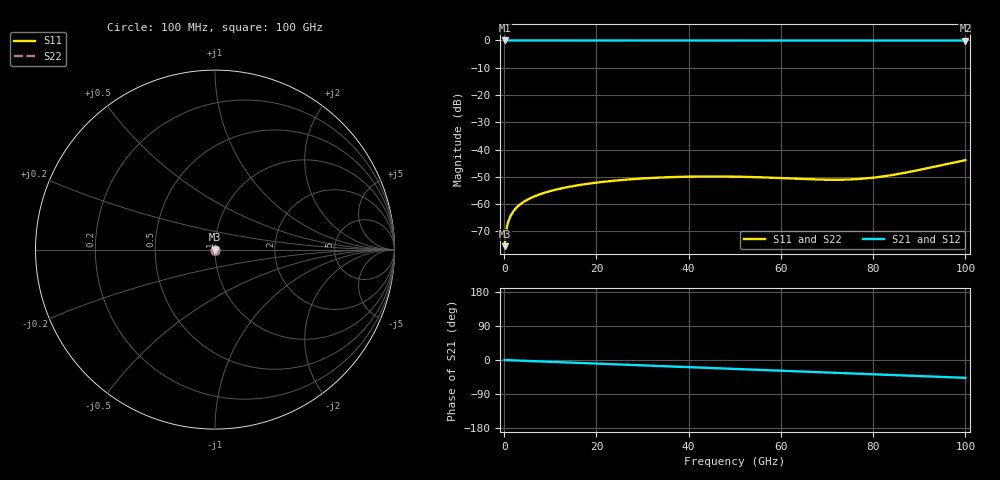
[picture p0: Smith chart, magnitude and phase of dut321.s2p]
! Touchstone file exported from HFSS 2026.1.0
!  File:  C:/ffzhzh/LocalFiles/Ansys_Project_Files/temp_train_TSV_321_1783509507_41296.aedt
!  Generated:  07:19:45 PM Jul  8, 2026
!  Design:  TSV
!  Project:  temp_train_TSV_321_1783509507_41296
! Variables:
!  h_bsmrdl = 2um
!  h_ox = 20um
!  h_rdl = 5um
!  h_sub = 98.01um
!  h_tmrdl = 5um
!  h_tsv = 98.01um
!  h_via = 3um
!  l_bsmrdl = 300um
!  l_sub = 419.4um
!  l_tmrdl = 200um
!  m_sub = 200um
!  pitch = 40.08um
!  r_tsv = 9.7um
!  s_tmrdl = 10um
!  w_bsmrdl = 18um
!  w_sub = 500um
!  w_tmrdl = 12um
!  x_tsv_center1 = 206um
!  x_tsv_center2 = 524um
!  x_tsv_center3 = 736um
!  x_tsv_center4 = 1054um
!  x_tsv_center5 = 1266um
!  x_tsv_center6 = 1584um
# GHz S MA R 50.000000
! Terminal data exported
! Port[1] = TSV1_1_T1
! Port[2] = TSV1_1_T2
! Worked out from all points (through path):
!   1000 points, 100 MHz to 100 GHz, reference 50 ohm
!   highest |S21| = 0.00 dB at 100 MHz (marker M1); lowest = 0.0 dB at 100 GHz (marker M2)
!   group delay of S21, straight-line fit = 1.31 ps
!   lowest |S11| = -75.4 dB at 100 MHz (marker M3), VSWR 1.00, Z = 50 + j0.00616 ohm
!   |S11| at or under -10 dB: start of sweep to end of sweep
!   |S22| runs from -75.4 to -43.8 dB; largest |S21 - S12| = 3.6e-15
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0.1  0.0001694 21.3  0.9998 -0.1  0.9998 -0.1  0.0001694 21.3
! Gamma 0 0 0 0
! Port Impedance 50 0 50 0
0.4  0.000304 42.9  0.9998 -0.2  0.9998 -0.2  0.000304 42.9
0.8  0.0004475 45.5  0.9997 -0.4  0.9997 -0.4  0.0004475 45.5
1.1  0.0005301 46.1  0.9996 -0.5  0.9996 -0.5  0.0005301 46.1
1.4  0.0006036 46.6  0.9996 -0.7  0.9996 -0.7  0.0006036 46.6
1.9  0.0007138 47.0  0.9995 -0.9  0.9995 -0.9  0.0007138 47.0
2.4  0.0008115 47.0  0.9995 -1.2  0.9995 -1.2  0.0008115 47.0
3.8  0.001037 46.6  0.9993 -1.8  0.9993 -1.8  0.001037 46.6
6  0.001319 46.3  0.9991 -2.9  0.9991 -2.9  0.001319 46.3
8.8  0.00162 45.4  0.999 -4.2  0.999 -4.2  0.001621 45.4
12.4  0.00194 43.9  0.9987 -5.9  0.9987 -5.9  0.001941 43.9
16.8  0.002269 42.1  0.9985 -7.9  0.9985 -7.9  0.002271 42.0
24.5  0.002718 38.2  0.9982 -11.5  0.9982 -11.5  0.002722 38.1
33.4  0.003057 32.5  0.9979 -15.7  0.9979 -15.7  0.003064 32.3
41.6  0.003202 25.7  0.9977 -19.6  0.9977 -19.6  0.003213 25.5
50.1  0.003188 16.4  0.9974 -23.6  0.9974 -23.6  0.003205 16.2
66.7  0.002846 -14.5  0.997 -31.4  0.997 -31.4  0.002884 -14.8
75.6  0.002847 -42.2  0.9968 -35.5  0.9968 -35.5  0.002897 -42.1
79.4  0.003013 -55.6  0.9967 -37.3  0.9967 -37.3  0.003065 -55.3
83.4  0.003338 -69.3  0.9966 -39.2  0.9966 -39.2  0.00339 -68.8
88.8  0.004038 -85.6  0.9965 -41.8  0.9965 -41.8  0.004087 -85.0
100  0.006392 -110.0  0.9961 -47.1  0.9961 -47.1  0.00643 -109.4
